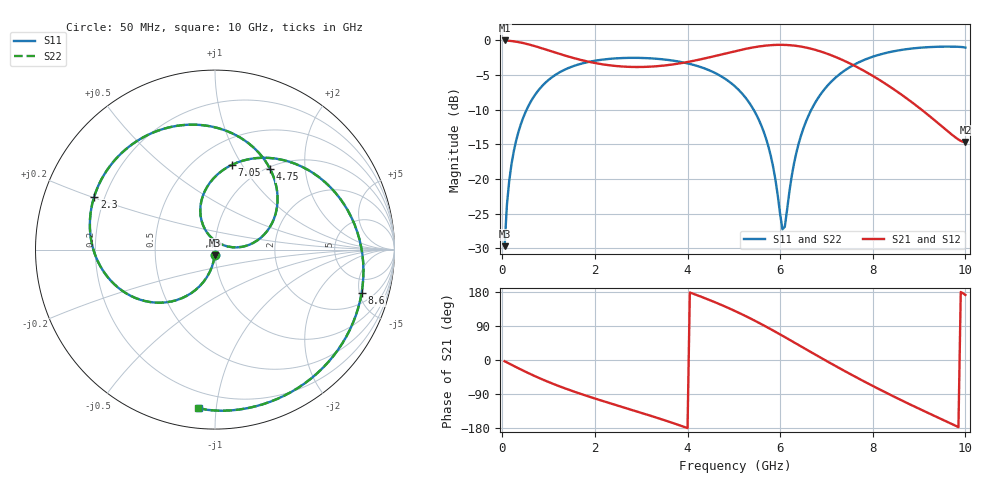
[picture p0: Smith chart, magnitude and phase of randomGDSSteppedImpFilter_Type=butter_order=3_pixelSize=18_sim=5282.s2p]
! freq	dB(S11)	phase(S11)	dB(S12)	phase(S12)
!  dB(S21)	phase(S21)	dB(S22)	phase(S22)
!S-par simulation data
#  GHz  S  DB  R 50
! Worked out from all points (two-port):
!   200 points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, 50 MHz to 10 GHz, reference 50 ohm
!   highest |S21| = -0.01 dB at 50 MHz (marker M1); lowest = -14.7 dB at 10 GHz (marker M2)
!   |S21| within 3 dB of the highest: start of sweep to 1.816 GHz; 4.087 GHz to 7.406 GHz (3.319 GHz wide, 57.8 % of centre)
!   lowest |S11| = -29.7 dB at 50 MHz (marker M3), VSWR 1.07, Z = 49.7 - j3.25 ohm
!   |S11| at or under -10 dB: start of sweep to 526.3 MHz; 5.426 GHz to 6.675 GHz (1.249 GHz wide, 20.6 % of centre)
!   |S22| runs from -29.7 to -0.9 dB; largest |S21 - S12| = 0
!   S11 on the Smith chart (normalised r, x): 50 MHz: 0.99, -0.06; 2.3 GHz: 0.16, +0.20; 4.75 GHz: 1.03, +1.32; 7.05 GHz: 0.74, +0.91; 8.6 GHz: 2.99, -5.26; 10 GHz: 0.11, -0.90
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0.05  -29.71 -93.4  -0.01 -3.2  -0.01 -3.2  -29.71 -93.4
0.1  -23.73 -96.7  -0.03 -6.4  -0.03 -6.4  -23.73 -96.7
0.2  -17.82 -103.2  -0.09 -12.7  -0.09 -12.7  -17.82 -103.2
0.5  -10.38 -121.5  -0.46 -30.9  -0.46 -30.9  -10.38 -121.5
1.05  -5.43 -151.2  -1.55 -60.6  -1.55 -60.6  -5.43 -151.2
1.75  -3.28 177.7  -2.90 -91.7  -2.90 -91.7  -3.28 177.7
2.3  -2.68 156.3  -3.58 -113.1  -3.58 -113.1  -2.68 156.3
3.4  -2.69 114.9  -3.69 -154.8  -3.69 -154.8  -2.69 114.9
4.1  -3.48 86.1  -2.99 175.9  -2.99 175.9  -3.48 86.1
4.75  -5.27 55.8  -2.00 144.3  -2.00 144.3  -5.27 55.8
5.05  -6.79 40.4  -1.52 127.9  -1.52 127.9  -6.79 40.4
5.7  -14.28 8.1  -0.74 87.8  -0.74 87.8  -14.27 8.1
5.85  -18.31 5.9  -0.66 77.7  -0.66 77.7  -18.31 5.9
6.05  -27.27 49.0  -0.64 64.0  -0.64 64.0  -27.24 49.0
6.35  -16.21 116.0  -0.79 43.0  -0.79 43.0  -16.20 116.0
6.7  -9.67 100.1  -1.26 18.4  -1.26 18.4  -9.67 100.1
7.05  -6.33 78.6  -2.01 -5.9  -2.01 -5.9  -6.33 78.6
7.65  -3.32 40.7  -3.82 -46.1  -3.82 -46.1  -3.32 40.7
8.35  -1.71 -1.8  -6.59 -90.1  -6.59 -90.1  -1.71 -1.8
8.6  -1.39 -16.4  -7.73 -105.2  -7.73 -105.2  -1.39 -16.5
9.35  -0.93 -59.0  -11.61 -148.5  -11.61 -148.5  -0.93 -59.0
10  -1.03 -95.8  -14.66 171.5  -14.66 171.5  -1.04 -95.9
